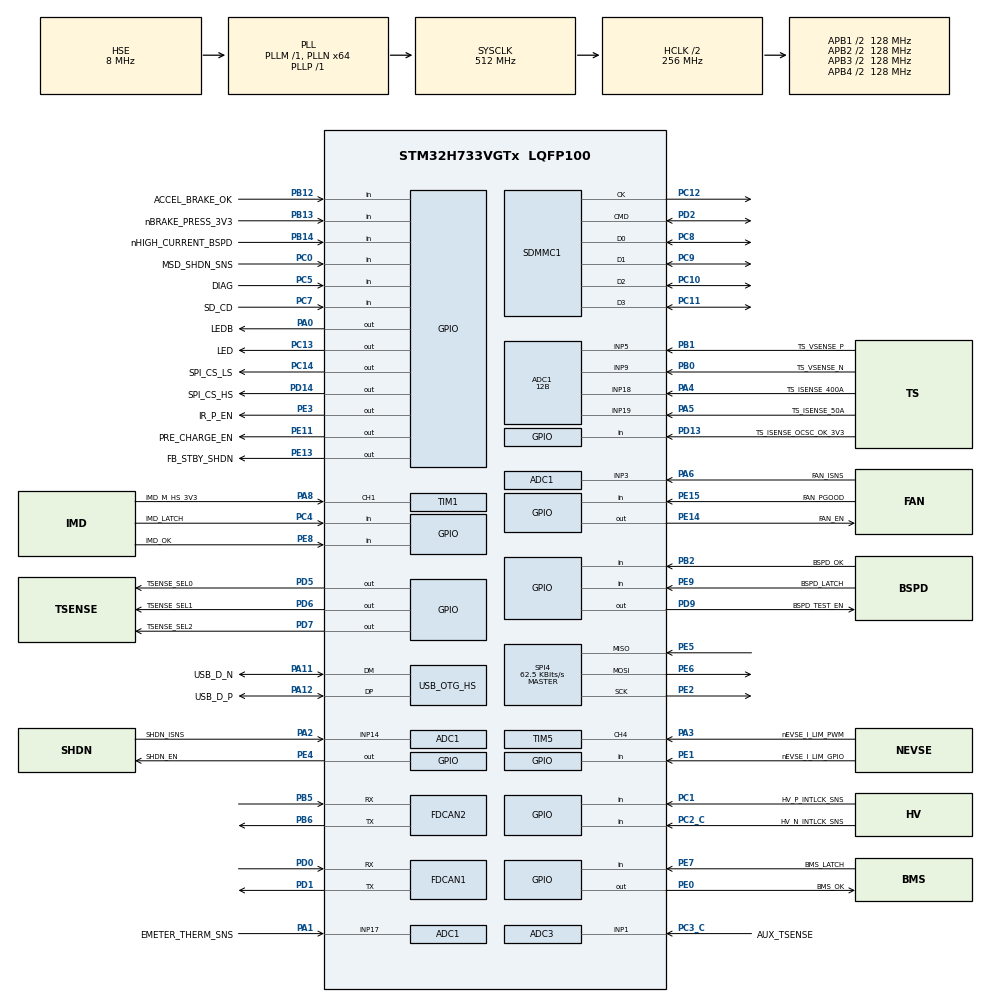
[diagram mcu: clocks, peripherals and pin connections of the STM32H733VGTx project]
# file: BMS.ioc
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ADC1.Channel-0\#ChannelRegularConversion=ADC_CHANNEL_3
ADC1.Channel-1\#ChannelRegularConversion=ADC_CHANNEL_5
ADC1.Channel-2\#ChannelRegularConversion=ADC_CHANNEL_9
ADC1.Channel-3\#ChannelRegularConversion=ADC_CHANNEL_14
ADC1.Channel-4\#ChannelRegularConversion=ADC_CHANNEL_17
ADC1.Channel-5\#ChannelRegularConversion=ADC_CHANNEL_18
ADC1.Channel-6\#ChannelRegularConversion=ADC_CHANNEL_19
ADC1.ClockPrescaler=ADC_CLOCK_SYNC_PCLK_DIV4
ADC1.ClockPrescalerADC3=ADC_CLOCK_SYNC_PCLK_DIV4
ADC1.ConversionDataManagement=ADC_CONVERSIONDATA_DMA_CIRCULAR
ADC1.ExternalTrigConv=ADC_EXTERNALTRIG_T3_TRGO
ADC1.NbrOfConversion=7
ADC1.NbrOfConversionFlag=1
ADC1.OffsetNumber-0\#ChannelRegularConversion=ADC_OFFSET_NONE
ADC1.OffsetNumber-1\#ChannelRegularConversion=ADC_OFFSET_NONE
ADC1.OffsetNumber-2\#ChannelRegularConversion=ADC_OFFSET_NONE
ADC1.OffsetNumber-3\#ChannelRegularConversion=ADC_OFFSET_NONE
ADC1.OffsetNumber-4\#ChannelRegularConversion=ADC_OFFSET_NONE
ADC1.OffsetNumber-5\#ChannelRegularConversion=ADC_OFFSET_NONE
ADC1.OffsetNumber-6\#ChannelRegularConversion=ADC_OFFSET_NONE
ADC1.OffsetSignedSaturation-0\#ChannelRegularConversion=DISABLE
ADC1.Rank-0\#ChannelRegularConversion=1
ADC1.Rank-1\#ChannelRegularConversion=2
ADC1.Rank-2\#ChannelRegularConversion=3
ADC1.Rank-3\#ChannelRegularConversion=4
ADC1.Rank-4\#ChannelRegularConversion=5
ADC1.Rank-5\#ChannelRegularConversion=6
ADC1.Rank-6\#ChannelRegularConversion=7
ADC1.Resolution=ADC_RESOLUTION_12B
ADC1.SamplingTime-0\#ChannelRegularConversion=ADC_SAMPLETIME_1CYCLE_5
ADC1.SamplingTime-1\#ChannelRegularConversion=ADC_SAMPLETIME_1CYCLE_5
ADC1.SamplingTime-2\#ChannelRegularConversion=ADC_SAMPLETIME_1CYCLE_5
ADC1.SamplingTime-3\#ChannelRegularConversion=ADC_SAMPLETIME_1CYCLE_5
ADC1.SamplingTime-4\#ChannelRegularConversion=ADC_SAMPLETIME_1CYCLE_5
ADC1.SamplingTime-5\#ChannelRegularConversion=ADC_SAMPLETIME_1CYCLE_5
ADC1.SamplingTime-6\#ChannelRegularConversion=ADC_SAMPLETIME_1CYCLE_5
ADC1.master=1
ADC3.Channel-0\#ChannelRegularConversion=ADC_CHANNEL_1
ADC3.ClockPrescalerADC3=ADC_CLOCK_SYNC_PCLK_DIV4
ADC3.ConversionDataManagement=ADC_CONVERSIONDATA_DMA_CIRCULAR
ADC3.ExternalTrigConv=ADC_EXTERNALTRIG_T3_TRGO
ADC3.NbrOfConversionFlag=1
ADC3.OffsetNumber-0\#ChannelRegularConversion=ADC_OFFSET_NONE
ADC3.OffsetSign-0\#ChannelRegularConversion=ADC3_OFFSET_SIGN_NEGATIVE
ADC3.Rank-0\#ChannelRegularConversion=1
ADC3.SamplingTime-0\#ChannelRegularConversion=ADC3_SAMPLETIME_2CYCLES_5
CORTEX_M7.default_mode_Activation=0
Dma.ADC1.0.Direction=DMA_PERIPH_TO_MEMORY
Dma.ADC1.0.EventEnable=DISABLE
Dma.ADC1.0.FIFOMode=DMA_FIFOMODE_DISABLE
Dma.ADC1.0.Instance=DMA1_Stream0
Dma.ADC1.0.MemDataAlignment=DMA_MDATAALIGN_HALFWORD
Dma.ADC1.0.MemInc=DMA_MINC_ENABLE
Dma.ADC1.0.Mode=DMA_CIRCULAR
Dma.ADC1.0.PeriphDataAlignment=DMA_PDATAALIGN_HALFWORD
Dma.ADC1.0.PeriphInc=DMA_PINC_DISABLE
Dma.ADC1.0.Polarity=HAL_DMAMUX_REQ_GEN_RISING
Dma.ADC1.0.Priority=DMA_PRIORITY_LOW
Dma.ADC1.0.RequestNumber=1
Dma.ADC1.0.SignalID=NONE
Dma.ADC1.0.SyncEnable=DISABLE
Dma.ADC1.0.SyncPolarity=HAL_DMAMUX_SYNC_NO_EVENT
Dma.ADC1.0.SyncRequestNumber=1
Dma.ADC1.0.SyncSignalID=NONE
Dma.ADC3.1.Direction=DMA_PERIPH_TO_MEMORY
Dma.ADC3.1.EventEnable=DISABLE
Dma.ADC3.1.FIFOMode=DMA_FIFOMODE_DISABLE
Dma.ADC3.1.Instance=DMA1_Stream1
Dma.ADC3.1.MemDataAlignment=DMA_MDATAALIGN_HALFWORD
Dma.ADC3.1.MemInc=DMA_MINC_ENABLE
Dma.ADC3.1.Mode=DMA_CIRCULAR
Dma.ADC3.1.PeriphDataAlignment=DMA_PDATAALIGN_HALFWORD
Dma.ADC3.1.PeriphInc=DMA_PINC_DISABLE
Dma.ADC3.1.Polarity=HAL_DMAMUX_REQ_GEN_RISING
Dma.ADC3.1.Priority=DMA_PRIORITY_LOW
Dma.ADC3.1.RequestNumber=1
Dma.ADC3.1.SignalID=NONE
Dma.ADC3.1.SyncEnable=DISABLE
Dma.ADC3.1.SyncPolarity=HAL_DMAMUX_SYNC_NO_EVENT
Dma.ADC3.1.SyncRequestNumber=1
Dma.ADC3.1.SyncSignalID=NONE
Dma.Request0=ADC1
Dma.Request1=ADC3
FDCAN1.AutoRetransmission=ENABLE
FDCAN1.CalculateBaudRateNominal=1000000
FDCAN1.CalculateTimeBitNominal=1000
FDCAN1.CalculateTimeQuantumNominal=62.5
FDCAN1.DataPrescaler=3
FDCAN1.DataSyncJumpWidth=2
FDCAN1.DataTimeSeg1=5
FDCAN1.DataTimeSeg2=2
FDCAN1.ExtFiltersNbr=1
FDCAN1.FrameFormat=FDCAN_FRAME_FD_NO_BRS
FDCAN1.NominalPrescaler=6
FDCAN1.NominalSyncJumpWidth=2
FDCAN1.NominalTimeSeg1=13
FDCAN1.NominalTimeSeg2=2
FDCAN1.ProtocolException=DISABLE
FDCAN1.RxFifo0ElmtSize=FDCAN_DATA_BYTES_64
FDCAN1.RxFifo0ElmtsNbr=32
FDCAN1.RxFifo1ElmtSize=FDCAN_DATA_BYTES_64
FDCAN1.RxFifo1ElmtsNbr=0
FDCAN1.StdFiltersNbr=1
FDCAN1.TxElmtSize=FDCAN_DATA_BYTES_64
FDCAN1.TxFifoQueueElmtsNbr=32
FDCAN2.AutoRetransmission=ENABLE
FDCAN2.CalculateBaudRateNominal=500000
FDCAN2.CalculateTimeBitNominal=2000
FDCAN2.CalculateTimeQuantumNominal=125.0
FDCAN2.DataPrescaler=3
FDCAN2.DataSyncJumpWidth=2
FDCAN2.DataTimeSeg1=5
FDCAN2.DataTimeSeg2=2
FDCAN2.ExtFiltersNbr=1
FDCAN2.FrameFormat=FDCAN_FRAME_FD_NO_BRS
FDCAN2.MessageRAMOffset=1280
FDCAN2.NominalPrescaler=12
FDCAN2.NominalSyncJumpWidth=2
FDCAN2.NominalTimeSeg1=12
FDCAN2.NominalTimeSeg2=3
FDCAN2.RxBufferSize=FDCAN_DATA_BYTES_64
FDCAN2.RxFifo0ElmtSize=FDCAN_DATA_BYTES_64
FDCAN2.RxFifo0ElmtsNbr=32
FDCAN2.RxFifo1ElmtSize=FDCAN_DATA_BYTES_64
FDCAN2.StdFiltersNbr=1
FDCAN2.TxElmtSize=FDCAN_DATA_BYTES_64
FDCAN2.TxFifoQueueElmtsNbr=32
FREERTOS.Tasks01=Task100Hz,40,512,RunTask100Hz,Default,NULL,Static,Task100HzBuffer,Task100HzControlBlock;TaskCanRx,16,512,RunTaskCanRx,Default,NULL,Static,TaskCanRxBuffer,TaskCanRxControlBlock;TaskCanTx,16,512,RunTaskCanTx,Default,NULL,Static,TaskCanTxBuffer,TaskCanTxControlBlock;Task1kHz,48,512,RunTask1kHz,Default,NULL,Static,Task1kHzBuffer,Task1kHzControlBlock;Task1Hz,32,512,RunTask1Hz,Default,NULL,Static,Task1HzBuffer,Task1HzControlBlock;TaskChimera,40,512,RunTaskChimera,Default,NULL,Static,TaskChimeraBuffer,TaskChimeraControlBlock;TaskLtcVoltages,24,512,RunTaskLtcVoltages,Default,NULL,Static,TaskLtcVoltagesBuffer,TaskLtcVoltagesControlBlock;TaskLtcTemps,24,512,RunTaskLtcTemps,Default,NULL,Static,TaskLtcTempsBuffer,TaskLtcTempsControlBlock;TaskLtcDiag,24,512,RunTaskLtcDiag,Default,NULL,Static,TaskLtcDiagBuffer,TaskLtcDiagControlBlock;TaskInit,48,512,RunTaskInit,Default,NULL,Static,TaskInitBuffer,TaskInitControlBlock
FREERTOS.configENABLE_FPU=1
FREERTOS.configUSE_NEWLIB_REENTRANT=1
IWDG1.Reload=LSI_FREQUENCY / IWDG_PRESCALER / IWDG_RESET_FREQUENCY
Mcu.Family=STM32H7
Mcu.Name=STM32H733VGTx
Mcu.Package=LQFP100
Mcu.UserConstants=TIM5_PWM_MIN_FREQUENCY,1;TIM3_PRESCALER,10;TIM5_PRESCALER,(TIMx_FREQUENCY / TIM5_AUTO_RELOAD_REG / TIM5_PWM_MIN_FREQUENCY);TIM5_AUTO_RELOAD_REG,0xFFFF;ADC_FREQUENCY,1000;TIM1_AUTO_RELOAD_REG,0xFFFF;TIMx_FREQUENCY,256000000;IWDG_RESET_FREQUENCY,5;IWDG_WINDOW_DISABLE_VALUE,4095;IWDG_PRESCALER,4;TIM1_PWM_MIN_FREQUENCY,1;LSI_FREQUENCY,32000;TIM1_PRESCALER,(TIMx_FREQUENCY / TIM1_AUTO_RELOAD_REG / TIM1_PWM_MIN_FREQUENCY)
NVIC.DMA1_Stream0_IRQn=true\:5\:0\:false\:false\:true\:true\:false\:true\:true
NVIC.DMA1_Stream1_IRQn=true\:5\:0\:false\:false\:true\:true\:false\:true\:true
NVIC.FDCAN1_IT0_IRQn=true\:5\:0\:false\:false\:true\:true\:true\:true\:true
NVIC.FDCAN1_IT1_IRQn=true\:5\:0\:false\:false\:true\:true\:true\:true\:true
NVIC.FDCAN2_IT0_IRQn=true\:5\:0\:false\:false\:true\:true\:true\:true\:true
NVIC.FDCAN2_IT1_IRQn=true\:5\:0\:false\:false\:true\:true\:true\:true\:true
NVIC.OTG_HS_IRQn=true\:5\:0\:true\:false\:true\:true\:false\:true\:true
NVIC.PriorityGroup=NVIC_PRIORITYGROUP_4
NVIC.SDMMC1_IRQn=true\:5\:0\:false\:false\:true\:true\:true\:true\:true
NVIC.SPI4_IRQn=true\:5\:0\:false\:false\:true\:true\:true\:true\:true
NVIC.TIM1_CC_IRQn=true\:5\:0\:false\:false\:true\:true\:true\:true\:true
NVIC.TIM2_IRQn=true\:15\:0\:false\:false\:true\:false\:false\:true\:true
NVIC.TIM3_IRQn=true\:5\:0\:false\:false\:true\:true\:true\:true\:true
NVIC.TIM5_IRQn=true\:5\:0\:false\:false\:true\:true\:true\:true\:true
NVIC.TimeBase=TIM2_IRQn
NVIC.TimeBaseIP=TIM2
PA0.GPIO_Label=LEDB
PA0.Signal=GPIO_Output
PA1.GPIO_Label=EMETER_THERM_SNS
PA1.Mode=IN17-Single-Ended
PA1.Signal=ADC1_INP17
PA11.GPIO_Label=USB_D_N
PA11.Mode=Device_Only_FS
PA11.Signal=USB_OTG_HS_DM
PA12.GPIO_Label=USB_D_P
PA12.Mode=Device_Only_FS
PA12.Signal=USB_OTG_HS_DP
PA13(JTMS/SWDIO).GPIO_Label=SWDIO
PA13(JTMS/SWDIO).Mode=Trace_Asynchronous_SW
PA13(JTMS/SWDIO).Signal=DEBUG_JTMS-SWDIO
PA14(JTCK/SWCLK).GPIO_Label=SWCLK
PA14(JTCK/SWCLK).Mode=Trace_Asynchronous_SW
PA14(JTCK/SWCLK).Signal=DEBUG_JTCK-SWCLK
PA2.GPIO_Label=SHDN_ISNS
PA2.Signal=ADCx_INP14
PA3.GPIO_Label=nEVSE_I_LIM_PWM
PA3.Signal=S_TIM5_CH4
PA4.GPIO_Label=TS_ISENSE_400A
PA4.Signal=ADCx_INP18
PA5.GPIO_Label=TS_ISENSE_50A
PA5.Signal=ADCx_INP19
PA6.GPIO_Label=FAN_ISNS
PA6.Signal=ADCx_INP3
PA8.GPIO_Label=IMD_M_HS_3V3
PA8.Signal=S_TIM1_CH1
PB0.GPIO_Label=TS_VSENSE_N
PB0.Signal=ADCx_INP9
PB1.GPIO_Label=TS_VSENSE_P
PB1.Signal=ADCx_INP5
PB12.GPIO_Label=ACCEL_BRAKE_OK
PB12.Signal=GPIO_Input
PB13.GPIO_Label=nBRAKE_PRESS_3V3
PB13.Signal=GPIO_Input
PB14.GPIO_Label=nHIGH_CURRENT_BSPD
PB14.Signal=GPIO_Input
PB2.GPIO_Label=BSPD_OK
PB2.Signal=GPIO_Input
PB3(JTDO/TRACESWO).GPIO_Label=SWO
PB3(JTDO/TRACESWO).Mode=Trace_Asynchronous_SW
PB3(JTDO/TRACESWO).Signal=DEBUG_JTDO-SWO
PB5.Mode=FDCAN_Activate
PB5.Signal=FDCAN2_RX
PB6.Mode=FDCAN_Activate
PB6.Signal=FDCAN2_TX
PC0.GPIO_Label=MSD_SHDN_SNS
PC0.Signal=GPIO_Input
PC1.GPIO_Label=HV_P_INTLCK_SNS
PC1.Signal=GPIO_Input
PC10.Mode=SD_4_bits_Wide_bus
PC10.Signal=SDMMC1_D2
PC11.Mode=SD_4_bits_Wide_bus
PC11.Signal=SDMMC1_D3
PC12.Mode=SD_4_bits_Wide_bus
PC12.Signal=SDMMC1_CK
PC13.GPIO_Label=LED
PC13.Signal=GPIO_Output
PC14-OSC32_IN.GPIO_Label=SPI_CS_LS
PC14-OSC32_IN.GPIO_PuPd=GPIO_PULLDOWN
PC14-OSC32_IN.GPIO_Speed=GPIO_SPEED_FREQ_LOW
PC14-OSC32_IN.PinState=GPIO_PIN_SET
PC14-OSC32_IN.Signal=GPIO_Output
PC2_C.GPIO_Label=HV_N_INTLCK_SNS
PC2_C.Signal=GPIO_Input
PC3_C.GPIO_Label=AUX_TSENSE
PC3_C.Mode=IN1-Single-Ended
PC3_C.Signal=ADC3_INP1
PC4.GPIO_Label=IMD_LATCH
PC4.Signal=GPIO_Input
PC5.GPIO_Label=DIAG
PC5.Signal=GPIO_Input
PC7.GPIO_Label=SD_CD
PC7.Signal=GPIO_Input
PC8.Mode=SD_4_bits_Wide_bus
PC8.Signal=SDMMC1_D0
PC9.Mode=SD_4_bits_Wide_bus
PC9.Signal=SDMMC1_D1
PD0.Mode=FDCAN_Activate
PD0.Signal=FDCAN1_RX
PD1.Mode=FDCAN_Activate
PD1.Signal=FDCAN1_TX
PD13.GPIO_Label=TS_ISENSE_OCSC_OK_3V3
PD13.Signal=GPIO_Input
PD14.GPIO_Label=SPI_CS_HS
PD14.GPIO_PuPd=GPIO_PULLDOWN
PD14.GPIO_Speed=GPIO_SPEED_FREQ_LOW
PD14.PinState=GPIO_PIN_SET
PD14.Signal=GPIO_Output
PD2.Mode=SD_4_bits_Wide_bus
PD2.Signal=SDMMC1_CMD
PD5.GPIO_Label=TSENSE_SEL0
PD5.Signal=GPIO_Output
PD6.GPIO_Label=TSENSE_SEL1
PD6.Signal=GPIO_Output
PD7.GPIO_Label=TSENSE_SEL2
PD7.Signal=GPIO_Output
PD9.GPIO_Label=BSPD_TEST_EN
PD9.Signal=GPIO_Output
PE0.GPIO_Label=BMS_OK
PE0.Signal=GPIO_Output
PE1.GPIO_Label=nEVSE_I_LIM_GPIO
PE1.Signal=GPIO_Input
PE11.GPIO_Label=PRE_CHARGE_EN
PE11.GPIO_PuPd=GPIO_PULLDOWN
PE11.Signal=GPIO_Output
PE13.GPIO_Label=FB_STBY_SHDN
PE13.Signal=GPIO_Output
PE14.GPIO_Label=FAN_EN
PE14.GPIO_ModeDefaultOutputPP=GPIO_MODE_OUTPUT_OD
PE14.GPIO_PuPd=GPIO_NOPULL
PE14.Signal=GPIO_Output
PE15.GPIO_Label=FAN_PGOOD
PE15.Signal=GPIO_Input
PE2.GPIO_PuPd=GPIO_PULLDOWN
PE2.GPIO_Speed=GPIO_SPEED_FREQ_HIGH
PE2.Mode=Full_Duplex_Master
PE2.Signal=SPI4_SCK
PE3.GPIO_Label=IR_P_EN
PE3.Signal=GPIO_Output
PE4.GPIO_Label=SHDN_EN
PE4.Signal=GPIO_Output
PE5.GPIO_PuPd=GPIO_PULLUP
PE5.GPIO_Speed=GPIO_SPEED_FREQ_HIGH
PE5.Mode=Full_Duplex_Master
PE5.Signal=SPI4_MISO
PE6.GPIO_PuPd=GPIO_PULLDOWN
PE6.GPIO_Speed=GPIO_SPEED_FREQ_HIGH
PE6.Mode=Full_Duplex_Master
PE6.Signal=SPI4_MOSI
PE7.GPIO_Label=BMS_LATCH
PE7.Signal=GPIO_Input
PE8.GPIO_Label=IMD_OK
PE8.Signal=GPIO_Input
PE9.GPIO_Label=BSPD_LATCH
PE9.Signal=GPIO_Input
PH0-OSC_IN.Mode=HSE-External-Oscillator
PH0-OSC_IN.Signal=RCC_OSC_IN
PH1-OSC_OUT.Mode=HSE-External-Oscillator
PH1-OSC_OUT.Signal=RCC_OSC_OUT
ProjectManager.HeapSize=0x200
ProjectManager.StackSize=0x400
ProjectManager.TargetToolchain=STM32CubeIDE
RCC.ADCFreq_Value=96000000
RCC.APB1Freq_Value=128000000
RCC.APB2Freq_Value=128000000
RCC.APB3Freq_Value=128000000
RCC.APB4Freq_Value=128000000
RCC.CortexFreq_Value=512000000
RCC.D1PPRE=RCC_APB3_DIV2
RCC.D2PPRE1=RCC_APB1_DIV2
RCC.D2PPRE2=RCC_APB2_DIV2
RCC.D3PPRE=RCC_APB4_DIV2
RCC.DIVM1=1
RCC.DIVM2=1
RCC.DIVM3=1
RCC.DIVN1=64
RCC.DIVN2=24
RCC.DIVN3=24
RCC.DIVP1=1
RCC.DIVQ1=4
RCC.DIVQ3=4
RCC.FDCANCLockSelection=RCC_FDCANCLKSOURCE_PLL2
RCC.HCLKFreq_Value=256000000
RCC.HPRE=RCC_HCLK_DIV2
RCC.HSE_VALUE=8000000
RCC.PLL2FRACN=0
RCC.PLL3FRACN=0
RCC.PLLFRACN=0
RCC.PLLSourceVirtual=RCC_PLLSOURCE_HSE
RCC.SYSCLKFreq_VALUE=512000000
RCC.SYSCLKSource=RCC_SYSCLKSOURCE_PLLCLK
RCC.Spi45ClockSelection=RCC_SPI45CLKSOURCE_HSE
RCC.USBCLockSelection=RCC_USBCLKSOURCE_PLL3
RCC.USBFreq_Value=48000000
SDMMC1.ClockDiv=9
SDMMC1.HardwareFlowControl=SDMMC_HARDWARE_FLOW_CONTROL_ENABLE
SH.ADCx_INP14.0=ADC1_INP14,IN14-Single-Ended
SH.ADCx_INP18.0=ADC1_INP18,IN18-Single-Ended
SH.ADCx_INP19.0=ADC1_INP19,IN19-Single-Ended
SH.ADCx_INP3.0=ADC1_INP3,IN3-Single-Ended
SH.ADCx_INP5.0=ADC1_INP5,IN5-Single-Ended
SH.ADCx_INP9.0=ADC1_INP9,IN9-Single-Ended
SH.S_TIM1_CH1.0=TIM1_CH1,Input_Capture1_from_TI1
SH.S_TIM1_CH1.1=TIM1_CH1,TriggerSource_TI1FP1
SH.S_TIM5_CH4.0=TIM5_CH4,Input_Capture4_from_TI4
SPI4.BaudRatePrescaler=SPI_BAUDRATEPRESCALER_128
SPI4.CLKPhase=SPI_PHASE_2EDGE
SPI4.CLKPolarity=SPI_POLARITY_HIGH
SPI4.CalculateBaudRate=62.5 KBits/s
SPI4.DataSize=SPI_DATASIZE_8BIT
SPI4.Direction=SPI_DIRECTION_2LINES
SPI4.MasterKeepIOState=SPI_MASTER_KEEP_IO_STATE_ENABLE
SPI4.Mode=SPI_MODE_MASTER
SPI4.NSSPMode=SPI_NSS_PULSE_DISABLE
SPI4.VirtualType=VM_MASTER
TIM1.Channel-Input_Capture1_from_TI1=TIM_CHANNEL_1
TIM1.Channel-Input_Capture2_from_TI1_63=TIM_CHANNEL_2
TIM1.ICPolarity_CH2=TIM_INPUTCHANNELPOLARITY_FALLING
TIM1.Period=TIM1_AUTO_RELOAD_REG
TIM1.Prescaler=TIM1_PRESCALER
TIM3.Period=(TIMx_FREQUENCY / TIM3_PRESCALER / ADC_FREQUENCY) - 1
TIM3.Prescaler=TIM3_PRESCALER - 1
TIM3.TIM_MasterOutputTrigger=TIM_TRGO_UPDATE
TIM5.Channel-Input_Capture3_from_TI4_63=TIM_CHANNEL_3
TIM5.Channel-Input_Capture4_from_TI4=TIM_CHANNEL_4
TIM5.ICPolarity_CH3=TIM_INPUTCHANNELPOLARITY_FALLING
TIM5.Period=TIM5_AUTO_RELOAD_REG
TIM5.Prescaler=TIM5_PRESCALER
USB_DEVICE.CLASS_NAME_HS=CDC
USB_DEVICE.MANUFACTURER_STRING=ubc_formula_electric
USB_DEVICE.PRODUCT_STRING_CDC_HS=bms
USB_DEVICE.VirtualMode=Cdc
USB_DEVICE.VirtualModeHS=Cdc_HS
USB_OTG_HS.VirtualMode-Device_Only_FS=Device_Only_FS
VP_CRC_VS_CRC.Mode=CRC_Activate
VP_FREERTOS_VS_CMSIS_V2.Mode=CMSIS_V2
VP_IWDG1_VS_IWDG.Mode=IWDG_Activate
VP_MEMORYMAP_VS_MEMORYMAP.Mode=CurAppReg
VP_SYS_VS_tim2.Mode=TIM2
VP_TIM1_VS_ControllerModeReset.Mode=Reset Mode
VP_TIM1_VS_indirect_ch1.Mode=Input_Capture2_from_TI1_63
VP_TIM3_VS_ClockSourceINT.Mode=Internal
VP_TIM5_VS_ClockSourceINT.Mode=Internal
VP_TIM5_VS_indirect_ch4.Mode=Input_Capture3_from_TI4_63
VP_USB_DEVICE_VS_USB_DEVICE_CDC_HS.Mode=CDC_HS
board=custom

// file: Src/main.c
/* USER CODE BEGIN Header */
/**
 ******************************************************************************
 * @file           : main.c
 * @brief          : Main program body
 ******************************************************************************
 * @attention
 *
 * Copyright (c) 2024 STMicroelectronics.
 * All rights reserved.
 *
 * This software is licensed under terms that can be found in the LICENSE file
 * in the root directory of this software component.
 * If no LICENSE file comes with this software, it is provided AS-IS.
 *
 ******************************************************************************
 */
/* USER CODE END Header */
#include "main.h"
#include "cmsis_os.h"
#include "usb_device.h"

/* USER CODE BEGIN Includes */
#include "tasks.h"
/* USER CODE END Includes */

typedef StaticTask_t osStaticThreadDef_t;

ADC_HandleTypeDef hadc1;
ADC_HandleTypeDef hadc3;
DMA_HandleTypeDef hdma_adc1;
DMA_HandleTypeDef hdma_adc3;

CRC_HandleTypeDef hcrc;

FDCAN_HandleTypeDef hfdcan1;
FDCAN_HandleTypeDef hfdcan2;

IWDG_HandleTypeDef hiwdg1;

SD_HandleTypeDef hsd1;

SPI_HandleTypeDef hspi4;

TIM_HandleTypeDef htim1;
TIM_HandleTypeDef htim3;
TIM_HandleTypeDef htim5;

/* Definitions for Task100Hz */
osThreadId_t         Task100HzHandle;
uint32_t             Task100HzBuffer[512];
osStaticThreadDef_t  Task100HzControlBlock;
const osThreadAttr_t Task100Hz_attributes = {
    .name       = "Task100Hz",
    .cb_mem     = &Task100HzControlBlock,
    .cb_size    = sizeof(Task100HzControlBlock),
    .stack_mem  = &Task100HzBuffer[0],
    .stack_size = sizeof(Task100HzBuffer),
    .priority   = (osPriority_t)osPriorityHigh,
};
/* Definitions for TaskCanRx */
osThreadId_t         TaskCanRxHandle;
uint32_t             TaskCanRxBuffer[512];
osStaticThreadDef_t  TaskCanRxControlBlock;
const osThreadAttr_t TaskCanRx_attributes = {
    .name       = "TaskCanRx",
    .cb_mem     = &TaskCanRxControlBlock,
    .cb_size    = sizeof(TaskCanRxControlBlock),
    .stack_mem  = &TaskCanRxBuffer[0],
    .stack_size = sizeof(TaskCanRxBuffer),
    .priority   = (osPriority_t)osPriorityBelowNormal,
};
/* Definitions for TaskCanTx */
osThreadId_t         TaskCanTxHandle;
uint32_t             TaskCanTxBuffer[512];
osStaticThreadDef_t  TaskCanTxControlBlock;
const osThreadAttr_t TaskCanTx_attributes = {
    .name       = "TaskCanTx",
    .cb_mem     = &TaskCanTxControlBlock,
    .cb_size    = sizeof(TaskCanTxControlBlock),
    .stack_mem  = &TaskCanTxBuffer[0],
    .stack_size = sizeof(TaskCanTxBuffer),
    .priority   = (osPriority_t)osPriorityBelowNormal,
};
/* Definitions for Task1kHz */
osThreadId_t         Task1kHzHandle;
uint32_t             Task1kHzBuffer[512];
osStaticThreadDef_t  Task1kHzControlBlock;
const osThreadAttr_t Task1kHz_attributes = {
    .name       = "Task1kHz",
    .cb_mem     = &Task1kHzControlBlock,
    .cb_size    = sizeof(Task1kHzControlBlock),
    .stack_mem  = &Task1kHzBuffer[0],
    .stack_size = sizeof(Task1kHzBuffer),
    .priority   = (osPriority_t)osPriorityRealtime,
};
/* Definitions for Task1Hz */
osThreadId_t         Task1HzHandle;
uint32_t             Task1HzBuffer[512];
osStaticThreadDef_t  Task1HzControlBlock;
const osThreadAttr_t Task1Hz_attributes = {
    .name       = "Task1Hz",
    .cb_mem     = &Task1HzControlBlock,
    .cb_size    = sizeof(Task1HzControlBlock),
    .stack_mem  = &Task1HzBuffer[0],
    .stack_size = sizeof(Task1HzBuffer),
    .priority   = (osPriority_t)osPriorityAboveNormal,
};
/* Definitions for TaskChimera */
osThreadId_t         TaskChimeraHandle;
uint32_t             TaskChimeraBuffer[512];
osStaticThreadDef_t  TaskChimeraControlBlock;
const osThreadAttr_t TaskChimera_attributes = {
    .name       = "TaskChimera",
    .cb_mem     = &TaskChimeraControlBlock,
    .cb_size    = sizeof(TaskChimeraControlBlock),
    .stack_mem  = &TaskChimeraBuffer[0],
    .stack_size = sizeof(TaskChimeraBuffer),
    .priority   = (osPriority_t)osPriorityHigh,
};
/* Definitions for TaskLtcVoltages */
osThreadId_t         TaskLtcVoltagesHandle;
uint32_t             TaskLtcVoltagesBuffer[512];
osStaticThreadDef_t  TaskLtcVoltagesControlBlock;
const osThreadAttr_t TaskLtcVoltages_attributes = {
    .name       = "TaskLtcVoltages",
    .cb_mem     = &TaskLtcVoltagesControlBlock,
    .cb_size    = sizeof(TaskLtcVoltagesControlBlock),
    .stack_mem  = &TaskLtcVoltagesBuffer[0],
    .stack_size = sizeof(TaskLtcVoltagesBuffer),
    .priority   = (osPriority_t)osPriorityNormal,
};
/* Definitions for TaskLtcTemps */
osThreadId_t         TaskLtcTempsHandle;
uint32_t             TaskLtcTempsBuffer[512];
osStaticThreadDef_t  TaskLtcTempsControlBlock;
const osThreadAttr_t TaskLtcTemps_attributes = {
    .name       = "TaskLtcTemps",
    .cb_mem     = &TaskLtcTempsControlBlock,
    .cb_size    = sizeof(TaskLtcTempsControlBlock),
    .stack_mem  = &TaskLtcTempsBuffer[0],
    .stack_size = sizeof(TaskLtcTempsBuffer),
    .priority   = (osPriority_t)osPriorityNormal,
};
/* Definitions for TaskLtcDiag */
osThreadId_t         TaskLtcDiagHandle;
uint32_t             TaskLtcDiagBuffer[512];
osStaticThreadDef_t  TaskLtcDiagControlBlock;
const osThreadAttr_t TaskLtcDiag_attributes = {
    .name       = "TaskLtcDiag",
    .cb_mem     = &TaskLtcDiagControlBlock,
    .cb_size    = sizeof(TaskLtcDiagControlBlock),
    .stack_mem  = &TaskLtcDiagBuffer[0],
    .stack_size = sizeof(TaskLtcDiagBuffer),
    .priority   = (osPriority_t)osPriorityNormal,
};
/* Definitions for TaskInit */
osThreadId_t         TaskInitHandle;
uint32_t             TaskInitBuffer[512];
osStaticThreadDef_t  TaskInitControlBlock;
const osThreadAttr_t TaskInit_attributes = {
    .name       = "TaskInit",
    .cb_mem     = &TaskInitControlBlock,
    .cb_size    = sizeof(TaskInitControlBlock),
    .stack_mem  = &TaskInitBuffer[0],
    .stack_size = sizeof(TaskInitBuffer),
    .priority   = (osPriority_t)osPriorityRealtime,
};
/* Definitions for TaskSDCard */
osThreadId_t         TaskSDCardHandle;
uint32_t             TaskSDCardBuffer[256];
osStaticThreadDef_t  TaskSDCardControlBlock;
const osThreadAttr_t TaskSDCard_attributes = {
    .name       = "TaskSDCard",
    .cb_mem     = &TaskSDCardControlBlock,
    .cb_size    = sizeof(TaskSDCardControlBlock),
    .stack_mem  = &TaskSDCardBuffer[0],
    .stack_size = sizeof(TaskSDCardBuffer),
    .priority   = (osPriority_t)osPriorityLow,
};

void        SystemClock_Config(void);
void        PeriphCommonClock_Config(void);
static void MX_GPIO_Init(void);
static void MX_DMA_Init(void);
static void MX_ADC1_Init(void);
static void MX_FDCAN1_Init(void);
static void MX_SDMMC1_SD_Init(void);
static void MX_SPI4_Init(void);
static void MX_ADC3_Init(void);
static void MX_TIM1_Init(void);
static void MX_TIM3_Init(void);
static void MX_FDCAN2_Init(void);
static void MX_CRC_Init(void);
static void MX_TIM5_Init(void);
static void MX_IWDG1_Init(void);
void        RunTask100Hz(void *argument);
void        RunTaskCanRx(void *argument);
void        RunTaskCanTx(void *argument);
void        RunTask1kHz(void *argument);
void        RunTask1Hz(void *argument);
void        RunTaskChimera(void *argument);
void        RunTaskLtcVoltages(void *argument);
void        RunTaskLtcTemps(void *argument);
void        RunTaskLtcDiag(void *argument);
void        RunTaskInit(void *argument);
void        RunTaskSDCard(void *argument);

int main(void)
{
    /* USER CODE BEGIN 1 */
    tasks_preInit();
    /* USER CODE END 1 */

    /* MCU Configuration--------------------------------------------------------*/

    /* Reset of all peripherals, Initializes the Flash interface and the Systick. */
    HAL_Init();

    /* Configure the system clock */
    SystemClock_Config();

    /* Configure the peripherals common clocks */
    PeriphCommonClock_Config();

    /* Initialize all configured peripherals */
    MX_GPIO_Init();
    MX_DMA_Init();
    MX_ADC1_Init();
    MX_FDCAN1_Init();
    MX_SDMMC1_SD_Init();
    MX_SPI4_Init();
    MX_ADC3_Init();
    MX_TIM1_Init();
    MX_TIM3_Init();
    MX_FDCAN2_Init();
    MX_CRC_Init();
    MX_TIM5_Init();
    MX_IWDG1_Init();

    /* Init scheduler */
    osKernelInitialize();

    /* Create the thread(s) */
    /* creation of Task100Hz */
    Task100HzHandle = osThreadNew(RunTask100Hz, NULL, &Task100Hz_attributes);

    /* creation of TaskCanRx */
    TaskCanRxHandle = osThreadNew(RunTaskCanRx, NULL, &TaskCanRx_attributes);

    /* creation of TaskCanTx */
    TaskCanTxHandle = osThreadNew(RunTaskCanTx, NULL, &TaskCanTx_attributes);

    /* creation of Task1kHz */
    Task1kHzHandle = osThreadNew(RunTask1kHz, NULL, &Task1kHz_attributes);

    /* creation of Task1Hz */
    Task1HzHandle = osThreadNew(RunTask1Hz, NULL, &Task1Hz_attributes);

    /* creation of TaskChimera */
    TaskChimeraHandle = osThreadNew(RunTaskChimera, NULL, &TaskChimera_attributes);

    /* creation of TaskLtcVoltages */
    TaskLtcVoltagesHandle = osThreadNew(RunTaskLtcVoltages, NULL, &TaskLtcVoltages_attributes);

    /* creation of TaskLtcTemps */
    TaskLtcTempsHandle = osThreadNew(RunTaskLtcTemps, NULL, &TaskLtcTemps_attributes);

    /* creation of TaskLtcDiag */
    TaskLtcDiagHandle = osThreadNew(RunTaskLtcDiag, NULL, &TaskLtcDiag_attributes);

    /* creation of TaskInit */
    TaskInitHandle = osThreadNew(RunTaskInit, NULL, &TaskInit_attributes);

    /* creation of TaskSDCard */
    TaskSDCardHandle = osThreadNew(RunTaskSDCard, NULL, &TaskSDCard_attributes);

    /* Start scheduler */
    osKernelStart();

    /* We should never get here as control is now taken by the scheduler */

    /* Infinite loop */
    while (1)
    {

    }
}

void SystemClock_Config(void)
{
    RCC_OscInitTypeDef RCC_OscInitStruct = { 0 };
    RCC_ClkInitTypeDef RCC_ClkInitStruct = { 0 };

    /** Supply configuration update enable
     */
    HAL_PWREx_ConfigSupply(PWR_LDO_SUPPLY);

    /** Configure the main internal regulator output voltage
     */
    __HAL_PWR_VOLTAGESCALING_CONFIG(PWR_REGULATOR_VOLTAGE_SCALE0);

    while (!__HAL_PWR_GET_FLAG(PWR_FLAG_VOSRDY))
    {
    }

    /** Initializes the RCC Oscillators according to the specified parameters
     * in the RCC_OscInitTypeDef structure.
     */
    RCC_OscInitStruct.OscillatorType = RCC_OSCILLATORTYPE_LSI | RCC_OSCILLATORTYPE_HSE;
    RCC_OscInitStruct.HSEState       = RCC_HSE_ON;
    RCC_OscInitStruct.LSIState       = RCC_LSI_ON;
    RCC_OscInitStruct.PLL.PLLState   = RCC_PLL_ON;
    RCC_OscInitStruct.PLL.PLLSource  = RCC_PLLSOURCE_HSE;
    RCC_OscInitStruct.PLL.PLLM       = 1;
    RCC_OscInitStruct.PLL.PLLN       = 64;
    RCC_OscInitStruct.PLL.PLLP       = 1;
    RCC_OscInitStruct.PLL.PLLQ       = 4;
    RCC_OscInitStruct.PLL.PLLR       = 2;
    RCC_OscInitStruct.PLL.PLLRGE     = RCC_PLL1VCIRANGE_3;
    RCC_OscInitStruct.PLL.PLLVCOSEL  = RCC_PLL1VCOWIDE;
    RCC_OscInitStruct.PLL.PLLFRACN   = 0;
    if (HAL_RCC_OscConfig(&RCC_OscInitStruct) != HAL_OK)
    {
        Error_Handler();
    }

    /** Initializes the CPU, AHB and APB buses clocks
     */
    RCC_ClkInitStruct.ClockType = RCC_CLOCKTYPE_HCLK | RCC_CLOCKTYPE_SYSCLK | RCC_CLOCKTYPE_PCLK1 |
                                  RCC_CLOCKTYPE_PCLK2 | RCC_CLOCKTYPE_D3PCLK1 | RCC_CLOCKTYPE_D1PCLK1;
    RCC_ClkInitStruct.SYSCLKSource   = RCC_SYSCLKSOURCE_PLLCLK;
    RCC_ClkInitStruct.SYSCLKDivider  = RCC_SYSCLK_DIV1;
    RCC_ClkInitStruct.AHBCLKDivider  = RCC_HCLK_DIV2;
    RCC_ClkInitStruct.APB3CLKDivider = RCC_APB3_DIV2;
    RCC_ClkInitStruct.APB1CLKDivider = RCC_APB1_DIV2;
    RCC_ClkInitStruct.APB2CLKDivider = RCC_APB2_DIV2;
    RCC_ClkInitStruct.APB4CLKDivider = RCC_APB4_DIV2;

    if (HAL_RCC_ClockConfig(&RCC_ClkInitStruct, FLASH_LATENCY_3) != HAL_OK)
    {
        Error_Handler();
    }
}

void PeriphCommonClock_Config(void)
{
    RCC_PeriphCLKInitTypeDef PeriphClkInitStruct = { 0 };

    /** Initializes the peripherals clock
     */
    PeriphClkInitStruct.PeriphClockSelection = RCC_PERIPHCLK_FDCAN;
    PeriphClkInitStruct.PLL2.PLL2M           = 1;
    PeriphClkInitStruct.PLL2.PLL2N           = 24;
    PeriphClkInitStruct.PLL2.PLL2P           = 2;
    PeriphClkInitStruct.PLL2.PLL2Q           = 2;
    PeriphClkInitStruct.PLL2.PLL2R           = 2;
    PeriphClkInitStruct.PLL2.PLL2RGE         = RCC_PLL2VCIRANGE_3;
    PeriphClkInitStruct.PLL2.PLL2VCOSEL      = RCC_PLL2VCOWIDE;
    PeriphClkInitStruct.PLL2.PLL2FRACN       = 0;
    PeriphClkInitStruct.FdcanClockSelection  = RCC_FDCANCLKSOURCE_PLL2;
    if (HAL_RCCEx_PeriphCLKConfig(&PeriphClkInitStruct) != HAL_OK)
    {
        Error_Handler();
    }
}

static void MX_ADC1_Init(void)
{

    ADC_MultiModeTypeDef   multimode = { 0 };
    ADC_ChannelConfTypeDef sConfig   = { 0 };

    /** Common config
     */
    hadc1.Instance                      = ADC1;
    hadc1.Init.ClockPrescaler           = ADC_CLOCK_SYNC_PCLK_DIV4;
    hadc1.Init.Resolution               = ADC_RESOLUTION_12B;
    hadc1.Init.ScanConvMode             = ADC_SCAN_ENABLE;
    hadc1.Init.EOCSelection             = ADC_EOC_SINGLE_CONV;
    hadc1.Init.LowPowerAutoWait         = DISABLE;
    hadc1.Init.ContinuousConvMode       = DISABLE;
    hadc1.Init.NbrOfConversion          = 7;
    hadc1.Init.DiscontinuousConvMode    = DISABLE;
    hadc1.Init.ExternalTrigConv         = ADC_EXTERNALTRIG_T3_TRGO;
    hadc1.Init.ExternalTrigConvEdge     = ADC_EXTERNALTRIGCONVEDGE_RISING;
    hadc1.Init.ConversionDataManagement = ADC_CONVERSIONDATA_DMA_CIRCULAR;
    hadc1.Init.Overrun                  = ADC_OVR_DATA_PRESERVED;
    hadc1.Init.LeftBitShift             = ADC_LEFTBITSHIFT_NONE;
    hadc1.Init.OversamplingMode         = DISABLE;
    hadc1.Init.Oversampling.Ratio       = 1;
    if (HAL_ADC_Init(&hadc1) != HAL_OK)
    {
        Error_Handler();
    }

    /** Configure the ADC multi-mode
     */
    multimode.Mode = ADC_MODE_INDEPENDENT;
    if (HAL_ADCEx_MultiModeConfigChannel(&hadc1, &multimode) != HAL_OK)
    {
        Error_Handler();
    }

    /** Configure Regular Channel
     */
    sConfig.Channel                = ADC_CHANNEL_3;
    sConfig.Rank                   = ADC_REGULAR_RANK_1;
    sConfig.SamplingTime           = ADC_SAMPLETIME_1CYCLE_5;
    sConfig.SingleDiff             = ADC_SINGLE_ENDED;
    sConfig.OffsetNumber           = ADC_OFFSET_NONE;
    sConfig.Offset                 = 0;
    sConfig.OffsetSignedSaturation = DISABLE;
    if (HAL_ADC_ConfigChannel(&hadc1, &sConfig) != HAL_OK)
    {
        Error_Handler();
    }

    /** Configure Regular Channel
     */
    sConfig.Channel = ADC_CHANNEL_5;
    sConfig.Rank    = ADC_REGULAR_RANK_2;
    if (HAL_ADC_ConfigChannel(&hadc1, &sConfig) != HAL_OK)
    {
        Error_Handler();
    }

    /** Configure Regular Channel
     */
    sConfig.Channel = ADC_CHANNEL_9;
    sConfig.Rank    = ADC_REGULAR_RANK_3;
    if (HAL_ADC_ConfigChannel(&hadc1, &sConfig) != HAL_OK)
    {
        Error_Handler();
    }

    /** Configure Regular Channel
     */
    sConfig.Channel = ADC_CHANNEL_14;
    sConfig.Rank    = ADC_REGULAR_RANK_4;
    if (HAL_ADC_ConfigChannel(&hadc1, &sConfig) != HAL_OK)
    {
        Error_Handler();
    }

    /** Configure Regular Channel
     */
    sConfig.Channel = ADC_CHANNEL_17;
    sConfig.Rank    = ADC_REGULAR_RANK_5;
    if (HAL_ADC_ConfigChannel(&hadc1, &sConfig) != HAL_OK)
    {
        Error_Handler();
    }

    /** Configure Regular Channel
     */
    sConfig.Channel = ADC_CHANNEL_18;
    sConfig.Rank    = ADC_REGULAR_RANK_6;
    if (HAL_ADC_ConfigChannel(&hadc1, &sConfig) != HAL_OK)
    {
        Error_Handler();
    }

    /** Configure Regular Channel
     */
    sConfig.Channel = ADC_CHANNEL_19;
    sConfig.Rank    = ADC_REGULAR_RANK_7;
    if (HAL_ADC_ConfigChannel(&hadc1, &sConfig) != HAL_OK)
    {
        Error_Handler();
    }
}

static void MX_ADC3_Init(void)
{

    ADC_ChannelConfTypeDef sConfig = { 0 };

    /** Common config
     */
    hadc3.Instance                      = ADC3;
    hadc3.Init.ClockPrescaler           = ADC_CLOCK_SYNC_PCLK_DIV4;
    hadc3.Init.Resolution               = ADC_RESOLUTION_12B;
    hadc3.Init.DataAlign                = ADC3_DATAALIGN_RIGHT;
    hadc3.Init.ScanConvMode             = ADC_SCAN_DISABLE;
    hadc3.Init.EOCSelection             = ADC_EOC_SINGLE_CONV;
    hadc3.Init.LowPowerAutoWait         = DISABLE;
    hadc3.Init.ContinuousConvMode       = DISABLE;
    hadc3.Init.NbrOfConversion          = 1;
    hadc3.Init.DiscontinuousConvMode    = DISABLE;
    hadc3.Init.ExternalTrigConv         = ADC_EXTERNALTRIG_T3_TRGO;
    hadc3.Init.ExternalTrigConvEdge     = ADC_EXTERNALTRIGCONVEDGE_RISING;
    hadc3.Init.DMAContinuousRequests    = DISABLE;
    hadc3.Init.SamplingMode             = ADC_SAMPLING_MODE_NORMAL;
    hadc3.Init.ConversionDataManagement = ADC_CONVERSIONDATA_DMA_CIRCULAR;
    hadc3.Init.Overrun                  = ADC_OVR_DATA_PRESERVED;
    hadc3.Init.LeftBitShift             = ADC_LEFTBITSHIFT_NONE;
    hadc3.Init.OversamplingMode         = DISABLE;
    hadc3.Init.Oversampling.Ratio       = ADC3_OVERSAMPLING_RATIO_2;
    if (HAL_ADC_Init(&hadc3) != HAL_OK)
    {
        Error_Handler();
    }

    /** Configure Regular Channel
     */
    sConfig.Channel      = ADC_CHANNEL_1;
    sConfig.Rank         = ADC_REGULAR_RANK_1;
    sConfig.SamplingTime = ADC3_SAMPLETIME_2CYCLES_5;
    sConfig.SingleDiff   = ADC_SINGLE_ENDED;
    sConfig.OffsetNumber = ADC_OFFSET_NONE;
    sConfig.Offset       = 0;
    sConfig.OffsetSign   = ADC3_OFFSET_SIGN_NEGATIVE;
    if (HAL_ADC_ConfigChannel(&hadc3, &sConfig) != HAL_OK)
    {
        Error_Handler();
    }
}

static void MX_CRC_Init(void)
{

    hcrc.Instance                     = CRC;
    hcrc.Init.DefaultPolynomialUse    = DEFAULT_POLYNOMIAL_ENABLE;
    hcrc.Init.DefaultInitValueUse     = DEFAULT_INIT_VALUE_ENABLE;
    hcrc.Init.InputDataInversionMode  = CRC_INPUTDATA_INVERSION_NONE;
    hcrc.Init.OutputDataInversionMode = CRC_OUTPUTDATA_INVERSION_DISABLE;
    hcrc.InputDataFormat              = CRC_INPUTDATA_FORMAT_BYTES;
    if (HAL_CRC_Init(&hcrc) != HAL_OK)
    {
        Error_Handler();
    }
}

static void MX_FDCAN1_Init(void)
{

    hfdcan1.Instance                  = FDCAN1;
    hfdcan1.Init.FrameFormat          = FDCAN_FRAME_FD_NO_BRS;
    hfdcan1.Init.Mode                 = FDCAN_MODE_NORMAL;
    hfdcan1.Init.AutoRetransmission   = ENABLE;
    hfdcan1.Init.TransmitPause        = DISABLE;
    hfdcan1.Init.ProtocolException    = DISABLE;
    hfdcan1.Init.NominalPrescaler     = 6;
    hfdcan1.Init.NominalSyncJumpWidth = 2;
    hfdcan1.Init.NominalTimeSeg1      = 13;
    hfdcan1.Init.NominalTimeSeg2      = 2;
    hfdcan1.Init.DataPrescaler        = 3;
    hfdcan1.Init.DataSyncJumpWidth    = 2;
    hfdcan1.Init.DataTimeSeg1         = 5;
    hfdcan1.Init.DataTimeSeg2         = 2;
    hfdcan1.Init.MessageRAMOffset     = 0;
    hfdcan1.Init.StdFiltersNbr        = 1;
    hfdcan1.Init.ExtFiltersNbr        = 1;
    hfdcan1.Init.RxFifo0ElmtsNbr      = 32;
    hfdcan1.Init.RxFifo0ElmtSize      = FDCAN_DATA_BYTES_64;
    hfdcan1.Init.RxFifo1ElmtsNbr      = 0;
    hfdcan1.Init.RxFifo1ElmtSize      = FDCAN_DATA_BYTES_64;
    hfdcan1.Init.RxBuffersNbr         = 0;
    hfdcan1.Init.RxBufferSize         = FDCAN_DATA_BYTES_8;
    hfdcan1.Init.TxEventsNbr          = 0;
    hfdcan1.Init.TxBuffersNbr         = 0;
    hfdcan1.Init.TxFifoQueueElmtsNbr  = 32;
    hfdcan1.Init.TxFifoQueueMode      = FDCAN_TX_FIFO_OPERATION;
    hfdcan1.Init.TxElmtSize           = FDCAN_DATA_BYTES_64;
    if (HAL_FDCAN_Init(&hfdcan1) != HAL_OK)
    {
        Error_Handler();
    }
}

static void MX_FDCAN2_Init(void)
{

    hfdcan2.Instance                  = FDCAN2;
    hfdcan2.Init.FrameFormat          = FDCAN_FRAME_FD_NO_BRS;
    hfdcan2.Init.Mode                 = FDCAN_MODE_NORMAL;
    hfdcan2.Init.AutoRetransmission   = ENABLE;
    hfdcan2.Init.TransmitPause        = DISABLE;
    hfdcan2.Init.ProtocolException    = DISABLE;
    hfdcan2.Init.NominalPrescaler     = 12;
    hfdcan2.Init.NominalSyncJumpWidth = 2;
    hfdcan2.Init.NominalTimeSeg1      = 12;
    hfdcan2.Init.NominalTimeSeg2      = 3;
    hfdcan2.Init.DataPrescaler        = 3;
    hfdcan2.Init.DataSyncJumpWidth    = 2;
    hfdcan2.Init.DataTimeSeg1         = 5;
    hfdcan2.Init.DataTimeSeg2         = 2;
    hfdcan2.Init.MessageRAMOffset     = 1280;
    hfdcan2.Init.StdFiltersNbr        = 1;
    hfdcan2.Init.ExtFiltersNbr        = 1;
    hfdcan2.Init.RxFifo0ElmtsNbr      = 32;
    hfdcan2.Init.RxFifo0ElmtSize      = FDCAN_DATA_BYTES_64;
    hfdcan2.Init.RxFifo1ElmtsNbr      = 0;
    hfdcan2.Init.RxFifo1ElmtSize      = FDCAN_DATA_BYTES_64;
    hfdcan2.Init.RxBuffersNbr         = 0;
    hfdcan2.Init.RxBufferSize         = FDCAN_DATA_BYTES_64;
    hfdcan2.Init.TxEventsNbr          = 0;
    hfdcan2.Init.TxBuffersNbr         = 0;
    hfdcan2.Init.TxFifoQueueElmtsNbr  = 32;
    hfdcan2.Init.TxFifoQueueMode      = FDCAN_TX_FIFO_OPERATION;
    hfdcan2.Init.TxElmtSize           = FDCAN_DATA_BYTES_64;
    if (HAL_FDCAN_Init(&hfdcan2) != HAL_OK)
    {
        Error_Handler();
    }
}

static void MX_IWDG1_Init(void)
{
    /* USER CODE BEGIN IWDG1_Init 0 */
#ifndef WATCHDOG_DISABLED
    /* USER CODE END IWDG1_Init 0 */

    hiwdg1.Instance       = IWDG1;
    hiwdg1.Init.Prescaler = IWDG_PRESCALER_4;
    hiwdg1.Init.Window    = 4095;
    hiwdg1.Init.Reload    = LSI_FREQUENCY / IWDG_PRESCALER / IWDG_RESET_FREQUENCY;
    if (HAL_IWDG_Init(&hiwdg1) != HAL_OK)
    {
        Error_Handler();
    }
    /* USER CODE BEGIN IWDG1_Init 2 */
#endif
    /* USER CODE END IWDG1_Init 2 */
}

static void MX_SDMMC1_SD_Init(void)
{

    hsd1.Instance                 = SDMMC1;
    hsd1.Init.ClockEdge           = SDMMC_CLOCK_EDGE_RISING;
    hsd1.Init.ClockPowerSave      = SDMMC_CLOCK_POWER_SAVE_DISABLE;
    hsd1.Init.BusWide             = SDMMC_BUS_WIDE_4B;
    hsd1.Init.HardwareFlowControl = SDMMC_HARDWARE_FLOW_CONTROL_ENABLE;
    hsd1.Init.ClockDiv            = 9;
    if (HAL_SD_Init(&hsd1) != HAL_OK)
    {
        Error_Handler();
    }
}

static void MX_SPI4_Init(void)
{

    /* SPI4 parameter configuration*/
    hspi4.Instance                        = SPI4;
    hspi4.Init.Mode                       = SPI_MODE_MASTER;
    hspi4.Init.Direction                  = SPI_DIRECTION_2LINES;
    hspi4.Init.DataSize                   = SPI_DATASIZE_8BIT;
    hspi4.Init.CLKPolarity                = SPI_POLARITY_HIGH;
    hspi4.Init.CLKPhase                   = SPI_PHASE_2EDGE;
    hspi4.Init.NSS                        = SPI_NSS_SOFT;
    hspi4.Init.BaudRatePrescaler          = SPI_BAUDRATEPRESCALER_128;
    hspi4.Init.FirstBit                   = SPI_FIRSTBIT_MSB;
    hspi4.Init.TIMode                     = SPI_TIMODE_DISABLE;
    hspi4.Init.CRCCalculation             = SPI_CRCCALCULATION_DISABLE;
    hspi4.Init.CRCPolynomial              = 0x0;
    hspi4.Init.NSSPMode                   = SPI_NSS_PULSE_DISABLE;
    hspi4.Init.NSSPolarity                = SPI_NSS_POLARITY_LOW;
    hspi4.Init.FifoThreshold              = SPI_FIFO_THRESHOLD_01DATA;
    hspi4.Init.TxCRCInitializationPattern = SPI_CRC_INITIALIZATION_ALL_ZERO_PATTERN;
    hspi4.Init.RxCRCInitializationPattern = SPI_CRC_INITIALIZATION_ALL_ZERO_PATTERN;
    hspi4.Init.MasterSSIdleness           = SPI_MASTER_SS_IDLENESS_00CYCLE;
    hspi4.Init.MasterInterDataIdleness    = SPI_MASTER_INTERDATA_IDLENESS_00CYCLE;
    hspi4.Init.MasterReceiverAutoSusp     = SPI_MASTER_RX_AUTOSUSP_DISABLE;
    hspi4.Init.MasterKeepIOState          = SPI_MASTER_KEEP_IO_STATE_ENABLE;
    hspi4.Init.IOSwap                     = SPI_IO_SWAP_DISABLE;
    if (HAL_SPI_Init(&hspi4) != HAL_OK)
    {
        Error_Handler();
    }
}

static void MX_TIM1_Init(void)
{

    TIM_SlaveConfigTypeDef  sSlaveConfig  = { 0 };
    TIM_MasterConfigTypeDef sMasterConfig = { 0 };
    TIM_IC_InitTypeDef      sConfigIC     = { 0 };

    htim1.Instance               = TIM1;
    htim1.Init.Prescaler         = TIM1_PRESCALER;
    htim1.Init.CounterMode       = TIM_COUNTERMODE_UP;
    htim1.Init.Period            = TIM1_AUTO_RELOAD_REG;
    htim1.Init.ClockDivision     = TIM_CLOCKDIVISION_DIV1;
    htim1.Init.RepetitionCounter = 0;
    htim1.Init.AutoReloadPreload = TIM_AUTORELOAD_PRELOAD_DISABLE;
    if (HAL_TIM_Base_Init(&htim1) != HAL_OK)
    {
        Error_Handler();
    }
    if (HAL_TIM_IC_Init(&htim1) != HAL_OK)
    {
        Error_Handler();
    }
    sSlaveConfig.SlaveMode       = TIM_SLAVEMODE_RESET;
    sSlaveConfig.InputTrigger    = TIM_TS_TI1FP1;
    sSlaveConfig.TriggerPolarity = TIM_INPUTCHANNELPOLARITY_RISING;
    sSlaveConfig.TriggerFilter   = 0;
    if (HAL_TIM_SlaveConfigSynchro(&htim1, &sSlaveConfig) != HAL_OK)
    {
        Error_Handler();
    }
    sMasterConfig.MasterOutputTrigger  = TIM_TRGO_RESET;
    sMasterConfig.MasterOutputTrigger2 = TIM_TRGO2_RESET;
    sMasterConfig.MasterSlaveMode      = TIM_MASTERSLAVEMODE_DISABLE;
    if (HAL_TIMEx_MasterConfigSynchronization(&htim1, &sMasterConfig) != HAL_OK)
    {
        Error_Handler();
    }
    sConfigIC.ICPolarity  = TIM_INPUTCHANNELPOLARITY_RISING;
    sConfigIC.ICSelection = TIM_ICSELECTION_DIRECTTI;
    sConfigIC.ICPrescaler = TIM_ICPSC_DIV1;
    sConfigIC.ICFilter    = 0;
    if (HAL_TIM_IC_ConfigChannel(&htim1, &sConfigIC, TIM_CHANNEL_1) != HAL_OK)
    {
        Error_Handler();
    }
    sConfigIC.ICPolarity  = TIM_INPUTCHANNELPOLARITY_FALLING;
    sConfigIC.ICSelection = TIM_ICSELECTION_INDIRECTTI;
    if (HAL_TIM_IC_ConfigChannel(&htim1, &sConfigIC, TIM_CHANNEL_2) != HAL_OK)
    {
        Error_Handler();
    }
}

static void MX_TIM3_Init(void)
{

    TIM_ClockConfigTypeDef  sClockSourceConfig = { 0 };
    TIM_MasterConfigTypeDef sMasterConfig      = { 0 };

    htim3.Instance               = TIM3;
    htim3.Init.Prescaler         = TIM3_PRESCALER - 1;
    htim3.Init.CounterMode       = TIM_COUNTERMODE_UP;
    htim3.Init.Period            = (TIMx_FREQUENCY / TIM3_PRESCALER / ADC_FREQUENCY) - 1;
    htim3.Init.ClockDivision     = TIM_CLOCKDIVISION_DIV1;
    htim3.Init.AutoReloadPreload = TIM_AUTORELOAD_PRELOAD_DISABLE;
    if (HAL_TIM_Base_Init(&htim3) != HAL_OK)
    {
        Error_Handler();
    }
    sClockSourceConfig.ClockSource = TIM_CLOCKSOURCE_INTERNAL;
    if (HAL_TIM_ConfigClockSource(&htim3, &sClockSourceConfig) != HAL_OK)
    {
        Error_Handler();
    }
    sMasterConfig.MasterOutputTrigger = TIM_TRGO_UPDATE;
    sMasterConfig.MasterSlaveMode     = TIM_MASTERSLAVEMODE_DISABLE;
    if (HAL_TIMEx_MasterConfigSynchronization(&htim3, &sMasterConfig) != HAL_OK)
    {
        Error_Handler();
    }
}

static void MX_TIM5_Init(void)
{

    TIM_ClockConfigTypeDef  sClockSourceConfig = { 0 };
    TIM_MasterConfigTypeDef sMasterConfig      = { 0 };
    TIM_IC_InitTypeDef      sConfigIC          = { 0 };

    htim5.Instance               = TIM5;
    htim5.Init.Prescaler         = TIM5_PRESCALER;
    htim5.Init.CounterMode       = TIM_COUNTERMODE_UP;
    htim5.Init.Period            = TIM5_AUTO_RELOAD_REG;
    htim5.Init.ClockDivision     = TIM_CLOCKDIVISION_DIV1;
    htim5.Init.AutoReloadPreload = TIM_AUTORELOAD_PRELOAD_DISABLE;
    if (HAL_TIM_Base_Init(&htim5) != HAL_OK)
    {
        Error_Handler();
    }
    sClockSourceConfig.ClockSource = TIM_CLOCKSOURCE_INTERNAL;
    if (HAL_TIM_ConfigClockSource(&htim5, &sClockSourceConfig) != HAL_OK)
    {
        Error_Handler();
    }
    if (HAL_TIM_IC_Init(&htim5) != HAL_OK)
    {
        Error_Handler();
    }
    sMasterConfig.MasterOutputTrigger = TIM_TRGO_RESET;
    sMasterConfig.MasterSlaveMode     = TIM_MASTERSLAVEMODE_DISABLE;
    if (HAL_TIMEx_MasterConfigSynchronization(&htim5, &sMasterConfig) != HAL_OK)
    {
        Error_Handler();
    }
    sConfigIC.ICPolarity  = TIM_INPUTCHANNELPOLARITY_FALLING;
    sConfigIC.ICSelection = TIM_ICSELECTION_INDIRECTTI;
    sConfigIC.ICPrescaler = TIM_ICPSC_DIV1;
    sConfigIC.ICFilter    = 0;
    if (HAL_TIM_IC_ConfigChannel(&htim5, &sConfigIC, TIM_CHANNEL_3) != HAL_OK)
    {
        Error_Handler();
    }
    sConfigIC.ICPolarity  = TIM_INPUTCHANNELPOLARITY_RISING;
    sConfigIC.ICSelection = TIM_ICSELECTION_DIRECTTI;
    if (HAL_TIM_IC_ConfigChannel(&htim5, &sConfigIC, TIM_CHANNEL_4) != HAL_OK)
    {
        Error_Handler();
    }
}

static void MX_DMA_Init(void)
{
    /* DMA controller clock enable */
    __HAL_RCC_DMA1_CLK_ENABLE();

    /* DMA interrupt init */
    /* DMA1_Stream0_IRQn interrupt configuration */
    HAL_NVIC_SetPriority(DMA1_Stream0_IRQn, 5, 0);
    HAL_NVIC_EnableIRQ(DMA1_Stream0_IRQn);
    /* DMA1_Stream1_IRQn interrupt configuration */
    HAL_NVIC_SetPriority(DMA1_Stream1_IRQn, 5, 0);
    HAL_NVIC_EnableIRQ(DMA1_Stream1_IRQn);
}

static void MX_GPIO_Init(void)
{
    GPIO_InitTypeDef GPIO_InitStruct = { 0 };

    /* GPIO Ports Clock Enable */
    __HAL_RCC_GPIOE_CLK_ENABLE();
    __HAL_RCC_GPIOC_CLK_ENABLE();
    __HAL_RCC_GPIOH_CLK_ENABLE();
    __HAL_RCC_GPIOA_CLK_ENABLE();
    __HAL_RCC_GPIOB_CLK_ENABLE();
    __HAL_RCC_GPIOD_CLK_ENABLE();

    /*Configure GPIO pin Output Level */
    HAL_GPIO_WritePin(
        GPIOE, IR_P_EN_Pin | SHDN_EN_Pin | PRE_CHARGE_EN_Pin | FB_STBY_SHDN_Pin | FAN_EN_Pin | BMS_OK_Pin,
        GPIO_PIN_RESET);

    /*Configure GPIO pin Output Level */
    HAL_GPIO_WritePin(LED_GPIO_Port, LED_Pin, GPIO_PIN_RESET);

    /*Configure GPIO pin Output Level */
    HAL_GPIO_WritePin(SPI_CS_LS_GPIO_Port, SPI_CS_LS_Pin, GPIO_PIN_SET);

    /*Configure GPIO pin Output Level */
    HAL_GPIO_WritePin(LEDB_GPIO_Port, LEDB_Pin, GPIO_PIN_RESET);

    /*Configure GPIO pin Output Level */
    HAL_GPIO_WritePin(GPIOD, BSPD_TEST_EN_Pin | TSENSE_SEL0_Pin | TSENSE_SEL1_Pin | TSENSE_SEL2_Pin, GPIO_PIN_RESET);

    /*Configure GPIO pin Output Level */
    HAL_GPIO_WritePin(SPI_CS_HS_GPIO_Port, SPI_CS_HS_Pin, GPIO_PIN_SET);

    /*Configure GPIO pins : IR_P_EN_Pin SHDN_EN_Pin FB_STBY_SHDN_Pin BMS_OK_Pin */
    GPIO_InitStruct.Pin   = IR_P_EN_Pin | SHDN_EN_Pin | FB_STBY_SHDN_Pin | BMS_OK_Pin;
    GPIO_InitStruct.Mode  = GPIO_MODE_OUTPUT_PP;
    GPIO_InitStruct.Pull  = GPIO_NOPULL;
    GPIO_InitStruct.Speed = GPIO_SPEED_FREQ_LOW;
    HAL_GPIO_Init(GPIOE, &GPIO_InitStruct);

    /*Configure GPIO pin : LED_Pin */
    GPIO_InitStruct.Pin   = LED_Pin;
    GPIO_InitStruct.Mode  = GPIO_MODE_OUTPUT_PP;
    GPIO_InitStruct.Pull  = GPIO_NOPULL;
    GPIO_InitStruct.Speed = GPIO_SPEED_FREQ_LOW;
    HAL_GPIO_Init(LED_GPIO_Port, &GPIO_InitStruct);

    /*Configure GPIO pin : SPI_CS_LS_Pin */
    GPIO_InitStruct.Pin   = SPI_CS_LS_Pin;
    GPIO_InitStruct.Mode  = GPIO_MODE_OUTPUT_PP;
    GPIO_InitStruct.Pull  = GPIO_PULLDOWN;
    GPIO_InitStruct.Speed = GPIO_SPEED_FREQ_LOW;
    HAL_GPIO_Init(SPI_CS_LS_GPIO_Port, &GPIO_InitStruct);

    /*Configure GPIO pins : MSD_SHDN_SNS_Pin HV_P_INTLCK_SNS_Pin HV_N_INTLCK_SNS_Pin IMD_LATCH_Pin
                             DIAG_Pin SD_CD_Pin */
    GPIO_InitStruct.Pin =
        MSD_SHDN_SNS_Pin | HV_P_INTLCK_SNS_Pin | HV_N_INTLCK_SNS_Pin | IMD_LATCH_Pin | DIAG_Pin | SD_CD_Pin;
    GPIO_InitStruct.Mode = GPIO_MODE_INPUT;
    GPIO_InitStruct.Pull = GPIO_NOPULL;
    HAL_GPIO_Init(GPIOC, &GPIO_InitStruct);

    /*Configure GPIO pin : LEDB_Pin */
    GPIO_InitStruct.Pin   = LEDB_Pin;
    GPIO_InitStruct.Mode  = GPIO_MODE_OUTPUT_PP;
    GPIO_InitStruct.Pull  = GPIO_NOPULL;
    GPIO_InitStruct.Speed = GPIO_SPEED_FREQ_LOW;
    HAL_GPIO_Init(LEDB_GPIO_Port, &GPIO_InitStruct);

    /*Configure GPIO pins : BSPD_OK_Pin ACCEL_BRAKE_OK_Pin nBRAKE_PRESS_3V3_Pin nHIGH_CURRENT_BSPD_Pin */
    GPIO_InitStruct.Pin  = BSPD_OK_Pin | ACCEL_BRAKE_OK_Pin | nBRAKE_PRESS_3V3_Pin | nHIGH_CURRENT_BSPD_Pin;
    GPIO_InitStruct.Mode = GPIO_MODE_INPUT;
    GPIO_InitStruct.Pull = GPIO_NOPULL;
    HAL_GPIO_Init(GPIOB, &GPIO_InitStruct);

    /*Configure GPIO pins : BMS_LATCH_Pin IMD_OK_Pin BSPD_LATCH_Pin FAN_PGOOD_Pin
                             nEVSE_I_LIM_GPIO_Pin */
    GPIO_InitStruct.Pin  = BMS_LATCH_Pin | IMD_OK_Pin | BSPD_LATCH_Pin | FAN_PGOOD_Pin | nEVSE_I_LIM_GPIO_Pin;
    GPIO_InitStruct.Mode = GPIO_MODE_INPUT;
    GPIO_InitStruct.Pull = GPIO_NOPULL;
    HAL_GPIO_Init(GPIOE, &GPIO_InitStruct);

    /*Configure GPIO pin : PRE_CHARGE_EN_Pin */
    GPIO_InitStruct.Pin   = PRE_CHARGE_EN_Pin;
    GPIO_InitStruct.Mode  = GPIO_MODE_OUTPUT_PP;
    GPIO_InitStruct.Pull  = GPIO_PULLDOWN;
    GPIO_InitStruct.Speed = GPIO_SPEED_FREQ_LOW;
    HAL_GPIO_Init(PRE_CHARGE_EN_GPIO_Port, &GPIO_InitStruct);

    /*Configure GPIO pin : FAN_EN_Pin */
    GPIO_InitStruct.Pin   = FAN_EN_Pin;
    GPIO_InitStruct.Mode  = GPIO_MODE_OUTPUT_OD;
    GPIO_InitStruct.Pull  = GPIO_NOPULL;
    GPIO_InitStruct.Speed = GPIO_SPEED_FREQ_LOW;
    HAL_GPIO_Init(FAN_EN_GPIO_Port, &GPIO_InitStruct);

    /*Configure GPIO pins : BSPD_TEST_EN_Pin TSENSE_SEL0_Pin TSENSE_SEL1_Pin TSENSE_SEL2_Pin */
    GPIO_InitStruct.Pin   = BSPD_TEST_EN_Pin | TSENSE_SEL0_Pin | TSENSE_SEL1_Pin | TSENSE_SEL2_Pin;
    GPIO_InitStruct.Mode  = GPIO_MODE_OUTPUT_PP;
    GPIO_InitStruct.Pull  = GPIO_NOPULL;
    GPIO_InitStruct.Speed = GPIO_SPEED_FREQ_LOW;
    HAL_GPIO_Init(GPIOD, &GPIO_InitStruct);

    /*Configure GPIO pin : TS_ISENSE_OCSC_OK_3V3_Pin */
    GPIO_InitStruct.Pin  = TS_ISENSE_OCSC_OK_3V3_Pin;
    GPIO_InitStruct.Mode = GPIO_MODE_INPUT;
    GPIO_InitStruct.Pull = GPIO_NOPULL;
    HAL_GPIO_Init(TS_ISENSE_OCSC_OK_3V3_GPIO_Port, &GPIO_InitStruct);

    /*Configure GPIO pin : SPI_CS_HS_Pin */
    GPIO_InitStruct.Pin   = SPI_CS_HS_Pin;
    GPIO_InitStruct.Mode  = GPIO_MODE_OUTPUT_PP;
    GPIO_InitStruct.Pull  = GPIO_PULLDOWN;
    GPIO_InitStruct.Speed = GPIO_SPEED_FREQ_LOW;
    HAL_GPIO_Init(SPI_CS_HS_GPIO_Port, &GPIO_InitStruct);

    /*AnalogSwitch Config */
    HAL_SYSCFG_AnalogSwitchConfig(SYSCFG_SWITCH_PA0, SYSCFG_SWITCH_PA0_CLOSE);

}

void RunTask100Hz(void *argument)
{
    /* init code for USB_DEVICE */
    MX_USB_DEVICE_Init();
    /* USER CODE BEGIN 5 */
    ulTaskNotifyTake(pdTRUE, portMAX_DELAY);
    tasks_run100Hz();
    /* USER CODE END 5 */
}

void RunTaskCanRx(void *argument)
{
    /* USER CODE BEGIN RunTaskCanRx */
    ulTaskNotifyTake(pdTRUE, portMAX_DELAY);
    tasks_runCanRx();
    /* USER CODE END RunTaskCanRx */
}

void RunTaskCanTx(void *argument)
{
    /* USER CODE BEGIN RunTaskCanTx */
    ulTaskNotifyTake(pdTRUE, portMAX_DELAY);
    tasks_runCanTx();
    /* USER CODE END RunTaskCanTx */
}

void RunTask1kHz(void *argument)
{
    /* USER CODE BEGIN RunTask1kHz */
    ulTaskNotifyTake(pdTRUE, portMAX_DELAY);
    tasks_run1kHz();
    /* USER CODE END RunTask1kHz */
}

void RunTask1Hz(void *argument)
{
    /* USER CODE BEGIN RunTask1Hz */
    ulTaskNotifyTake(pdTRUE, portMAX_DELAY);
    tasks_run1Hz();
    /* USER CODE END RunTask1Hz */
}

void RunTaskChimera(void *argument)
{
    /* USER CODE BEGIN RunTaskChimera */
    ulTaskNotifyTake(pdTRUE, portMAX_DELAY);
    tasks_runChimera();
    /* USER CODE END RunTaskChimera */
}

void RunTaskLtcVoltages(void *argument)
{
    /* USER CODE BEGIN RunTaskLtcVoltages */
    ulTaskNotifyTake(pdTRUE, portMAX_DELAY);
    tasks_runLtcVoltages();
    /* USER CODE END RunTaskLtcVoltages */
}

void RunTaskLtcTemps(void *argument)
{
    /* USER CODE BEGIN RunTaskLtcTemps */
    ulTaskNotifyTake(pdTRUE, portMAX_DELAY);
    tasks_runLtcTemps();
    /* USER CODE END RunTaskLtcTemps */
}

void RunTaskLtcDiag(void *argument)
{
    /* USER CODE BEGIN RunTaskLtcDiag */
    ulTaskNotifyTake(pdTRUE, portMAX_DELAY);
    tasks_runLtcDiagnostics();
    /* USER CODE END RunTaskLtcDiag */
}

void RunTaskInit(void *argument)
{
    /* USER CODE BEGIN RunTaskInit */
    // Some init code needs to run *after* the scheduler has started. The mechanism here is this task is the highest
    // priority, but also needs to block all other tasks since if it yields then other tasks might jump in before init
    // is complete. This is accomplished with task notifications.
    // TODO: Will need to think about this a bit harder when we re-enable the watchdog...
    tasks_init();

    xTaskNotifyGive(Task1kHzHandle);
    xTaskNotifyGive(Task100HzHandle);
    xTaskNotifyGive(TaskChimeraHandle);
    xTaskNotifyGive(Task1HzHandle);
    xTaskNotifyGive(TaskLtcVoltagesHandle);
    xTaskNotifyGive(TaskLtcTempsHandle);
    xTaskNotifyGive(TaskLtcDiagHandle);
    xTaskNotifyGive(TaskCanTxHandle);
    xTaskNotifyGive(TaskCanRxHandle);
    vTaskDelete(NULL);
    /* USER CODE END RunTaskInit */
}

void RunTaskSDCard(void *argument)
{
    /* USER CODE BEGIN RunTaskSDCard */
    /* Infinite loop */
    tasks_runSdCard();
    /* USER CODE END RunTaskSDCard */
}

void HAL_TIM_PeriodElapsedCallback(TIM_HandleTypeDef *htim)
{
    if (htim->Instance == TIM2)
    {
        HAL_IncTick();
    }
}

void Error_Handler(void)
{
    __disable_irq();
    while (1)
    {
    }
}
